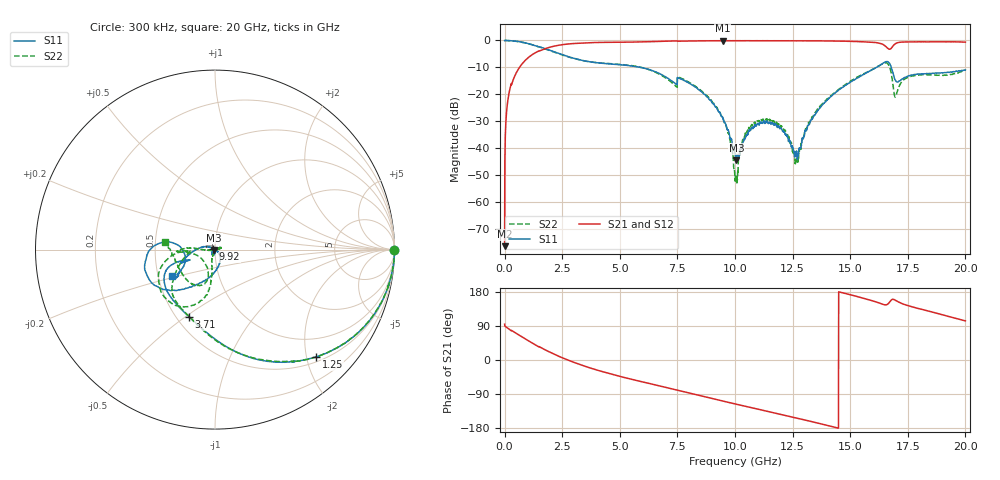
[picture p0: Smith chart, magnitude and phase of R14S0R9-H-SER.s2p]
!{R14S0R9}
!Johanson Technology Inc.
!www.johansontechnology.com
!Test Board Conditions:
!Substrate Type  RO4350B
!Substrate Thickness  20 mil
!Substrate Dk  3.66
!TL Type: GCPW
!TL Trace Width  36 mil
!TL Gap  12 mil
!Electrode orientation  Horizontal
!DUT TOPOLOGY	SERIES
!Mounting Pad LxW  26x36 mil
! Created Wed Nov 25 17:33:21 2020
! 2 Port Network Data from SP1.SP block
! freq  magS11  angS11  magS21  angS21  magS12  angS12  magS22  angS22
# khz S ma R 50
! decimated to every 10th point (10 MHz spacing) of the original 1 MHz Johanson file; values unchanged
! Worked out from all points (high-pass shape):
!   2001 points, 300 kHz to 20 GHz, reference 50 ohm
!   highest |S21| = -0.09 dB at 9.47 GHz (marker M1); lowest = -76.3 dB at 300 kHz (marker M2)
!   |S21| within 3 dB of the highest: 1.747 GHz to 16.66 GHz (14.91 GHz wide, 162 % of centre); 16.76 GHz to end of sweep
!   lowest |S11| = -44.4 dB at 10.06 GHz (marker M3), VSWR 1.01, Z = 49.5 - j0.234 ohm
!   |S11| at or under -10 dB: 5.888 GHz to 16.13 GHz (10.24 GHz wide, 93 % of centre); 16.78 GHz to end of sweep
!   |S22| runs from -53.4 to 0.0 dB; largest |S21 - S12| = 0.013
!   S11 on the Smith chart (normalised r, x): 300 kHz: open; 1.25 GHz: 0.59, -2.18; 3.71 GHz: 0.58, -0.52; 9.92 GHz: 0.98, +0.00; 20 GHz: 0.59, -0.19
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300  0.9956 -0.2  0.0001532 94.6  0.0002277 87.6  0.9971 -0.2
110300  0.9974 -4.6  0.06087 85.1  0.0612 85.1  0.998 -4.6
220300  0.9918 -9.3  0.1212 80.3  0.1216 80.3  0.9913 -9.2
1250300  0.8212 -46.7  0.5638 43.0  0.5639 42.9  0.8212 -46.9
3340300  0.4302 -102.9  0.8952 -13.4  0.8966 -13.4  0.4272 -103.8
3710300  0.4016 -111.0  0.9087 -20.9  0.9092 -20.9  0.4005 -110.7
6670300  0.249 -161.0  0.9595 -67.6  0.9597 -67.5  0.2428 -151.7
8340300  0.1314 -172.9  0.9797 -92.1  0.9812 -92.0  0.1349 176.8
9470300  0.03721 155.5  0.9896 -108.3  0.9896 -108.4  0.03731 -173.8
9920300  0.009753 167.5  0.9886 -114.8  0.989 -114.7  0.006383 -147.2
1.00003e7  0.008235 -174.9  0.9883 -115.8  0.9881 -115.8  0.002481 -144.7
1.00603e7  0.005994 -156.7  0.9879 -116.7  0.9876 -116.7  0.002593 -46.8
1.03703e7  0.01348 -101.3  0.9894 -121.1  0.9873 -121.0  0.01449 8.2
1.07803e7  0.02419 -98.0  0.9865 -126.7  0.9868 -126.7  0.02617 14.0
1.19703e7  0.02336 -135.2  0.9858 -143.4  0.9867 -143.3  0.02543 23.6
1.26703e7  0.008963 -75.4  0.9831 -153.2  0.9847 -153.1  0.006086 -45.6
1.33403e7  0.03467 -44.1  0.9834 -162.8  0.9848 -162.8  0.03817 -109.6
1.48603e7  0.1535 -100.2  0.9658 174.5  0.9657 174.5  0.1588 -97.6
1.66703e7  0.389 -171.7  0.6946 149.8  0.6873 150.1  0.3527 -153.4
1.69803e7  0.1772 -176.9  0.8801 157.0  0.8797 157.2  0.09304 -128.6
1.75803e7  0.2226 -149.0  0.9382 142.0  0.9418 142.1  0.2125 -111.0
2e7  0.2836 -148.6  0.9318 103.2  0.9212 103.1  0.2828 171.9
